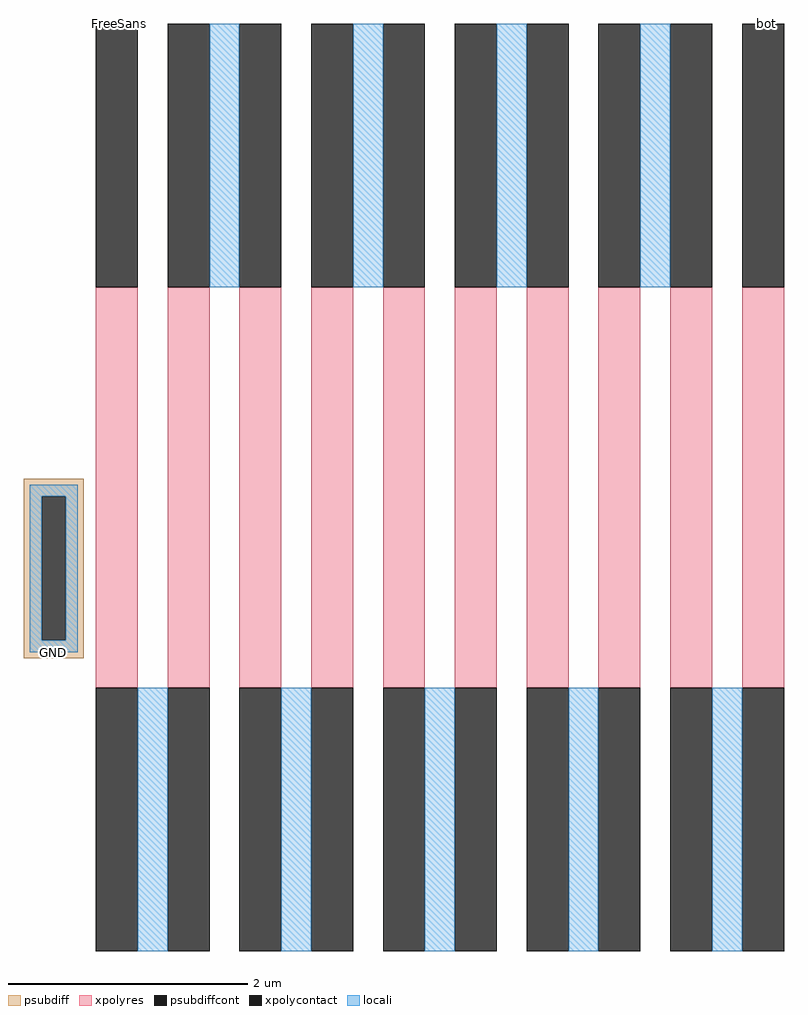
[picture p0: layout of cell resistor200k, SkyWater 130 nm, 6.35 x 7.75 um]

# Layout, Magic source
magic
tech sky130A
<< psubdiff >>
rect -60 160 -10 175
rect -60 40 -45 160
rect -25 40 -10 160
rect -60 25 -10 40
<< psubdiffcont >>
rect -45 40 -25 160
<< xpolycontact >>
rect 0 335 35 555
rect 0 -220 35 0
rect 60 335 95 555
rect 60 -220 95 0
rect 120 335 155 555
rect 120 -220 155 0
rect 180 335 215 555
rect 180 -220 215 0
rect 240 335 275 555
rect 240 -220 275 0
rect 300 335 335 555
rect 300 -220 335 0
rect 360 335 395 555
rect 360 -220 395 0
rect 420 335 455 555
rect 420 -220 455 0
rect 480 335 515 555
rect 480 -220 515 0
rect 540 335 575 555
rect 540 -220 575 0
<< xpolyres >>
rect 0 0 35 335
rect 60 0 95 335
rect 120 0 155 335
rect 180 0 215 335
rect 240 0 275 335
rect 300 0 335 335
rect 360 0 395 335
rect 420 0 455 335
rect 480 0 515 335
rect 540 0 575 335
<< locali >>
rect 95 335 120 555
rect 215 335 240 555
rect 335 335 360 555
rect 455 335 480 555
rect -55 160 -15 170
rect -55 40 -45 160
rect -25 40 -15 160
rect -55 30 -15 40
rect 35 -220 60 0
rect 155 -220 180 0
rect 275 -220 300 0
rect 395 -220 420 0
rect 515 -220 540 0
<< labels >>
flabel locali -35 30 -35 30 5 FreeSans 160 0 0 -80 GND
rlabel xpolycontact 20 555 20 555 1 FreeSans
flabel xpolycontact 20 555 20 555 1 FreeSans 160 0 0 80 top
flabel xpolycontact 560 555 560 555 1 FreeSans 160 0 0 80 bot
<< end >>
